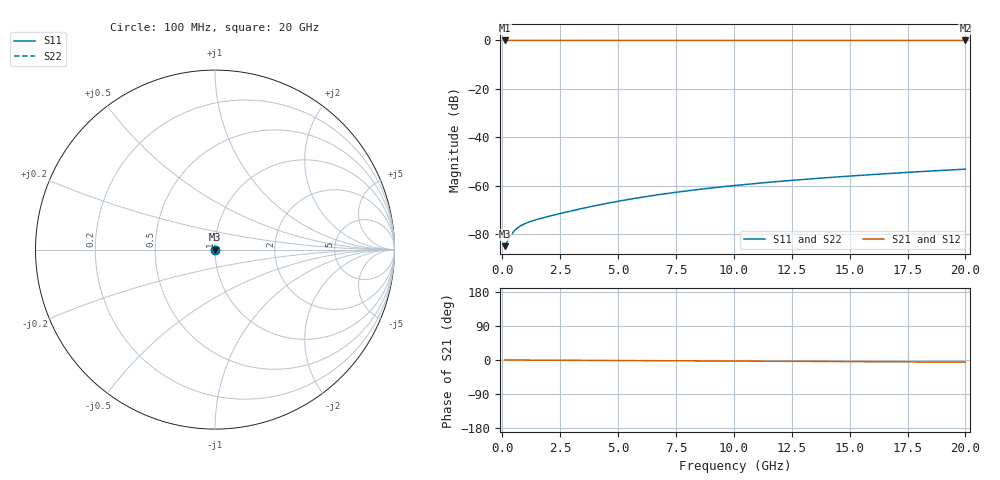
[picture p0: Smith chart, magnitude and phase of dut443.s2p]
! Touchstone file exported from HFSS 2026.1.0
!  File:  C:/ffzhzh/LocalFiles/Ansys_Project_Files/temp_train_TSV_443_1783021540_51716.aedt
!  Generated:  03:47:10 AM Jul  3, 2026
!  Design:  TSV
!  Project:  temp_train_TSV_443_1783021540_51716
! Variables:
!  h_bsmrdl = 2um
!  h_ox = 20um
!  h_rdl = 5um
!  h_sub = 50.33um
!  h_tmrdl = 5um
!  h_tsv = 50.33um
!  h_via = 3um
!  l_bsmrdl = 300um
!  l_sub = 429.12um
!  l_tmrdl = 200um
!  m_sub = 200um
!  pitch = 55.98um
!  r_tsv = 14.56um
!  s_tmrdl = 10um
!  w_bsmrdl = 18um
!  w_sub = 500um
!  w_tmrdl = 12um
!  x_tsv_center1 = 206um
!  x_tsv_center2 = 524um
!  x_tsv_center3 = 736um
!  x_tsv_center4 = 1054um
!  x_tsv_center5 = 1266um
!  x_tsv_center6 = 1584um
# GHz S MA R 50.000000
! Terminal data exported
! Port[1] = TSV1_1_T1
! Port[2] = TSV1_1_T2
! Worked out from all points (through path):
!   200 points, 100 MHz to 20 GHz, reference 50 ohm
!   highest |S21| = 0.00 dB at 100 MHz (marker M1); lowest = 0.0 dB at 20 GHz (marker M2)
!   lowest |S11| = -84.9 dB at 100 MHz (marker M3), VSWR 1.00, Z = 50 + j0.00163 ohm
!   |S11| at or under -10 dB: start of sweep to end of sweep
!   |S22| runs from -84.9 to -53.1 dB; largest |S21 - S12| = 2e-15
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0.1  5.704e-05 16.6  0.9999 -0.0  0.9999 -0.0  5.704e-05 16.6
! Gamma 0 0 0 0
! Port Impedance 50 0 50 0
0.3  8.58e-05 28.4  0.9999 -0.1  0.9999 -0.1  8.58e-05 28.4
0.4  0.0001015 27.5  0.9999 -0.1  0.9999 -0.1  0.0001015 27.5
0.5  0.000116 25.0  0.9999 -0.1  0.9999 -0.1  0.000116 25.0
0.6  0.0001289 21.7  0.9999 -0.2  0.9999 -0.2  0.0001289 21.7
0.7  0.0001404 18.1  0.9999 -0.2  0.9999 -0.2  0.0001403 18.1
0.8  0.0001505 14.5  0.9999 -0.2  0.9999 -0.2  0.0001505 14.5
1  0.0001679 7.8  0.9998 -0.3  0.9998 -0.3  0.0001678 7.8
1.3  0.0001896 -1.1  0.9998 -0.4  0.9998 -0.4  0.0001896 -1.1
1.7  0.0002157 -10.7  0.9998 -0.5  0.9998 -0.5  0.0002157 -10.7
2.2  0.0002485 -19.9  0.9998 -0.6  0.9998 -0.6  0.0002485 -19.9
3.5  0.0003465 -35.6  0.9997 -1.0  0.9997 -1.0  0.0003465 -35.7
4.3  0.000416 -42.0  0.9997 -1.2  0.9997 -1.2  0.000416 -42.0
5.1  0.000491 -47.0  0.9997 -1.4  0.9997 -1.4  0.000491 -47.0
5.9  0.0005703 -51.0  0.9996 -1.7  0.9996 -1.7  0.0005702 -51.0
6.8  0.0006632 -54.8  0.9996 -1.9  0.9996 -1.9  0.0006631 -54.8
8.4  0.0008352 -60.1  0.9996 -2.4  0.9996 -2.4  0.0008351 -60.1
10.1  0.001024 -64.4  0.9995 -2.8  0.9995 -2.8  0.001024 -64.4
11.7  0.001207 -67.6  0.9995 -3.3  0.9995 -3.3  0.001206 -67.6
13.4  0.001404 -70.4  0.9994 -3.8  0.9994 -3.8  0.001404 -70.4
16.7  0.0018 -74.4  0.9994 -4.7  0.9994 -4.7  0.0018 -74.5
20  0.002215 -77.4  0.9993 -5.6  0.9993 -5.6  0.002215 -77.5
